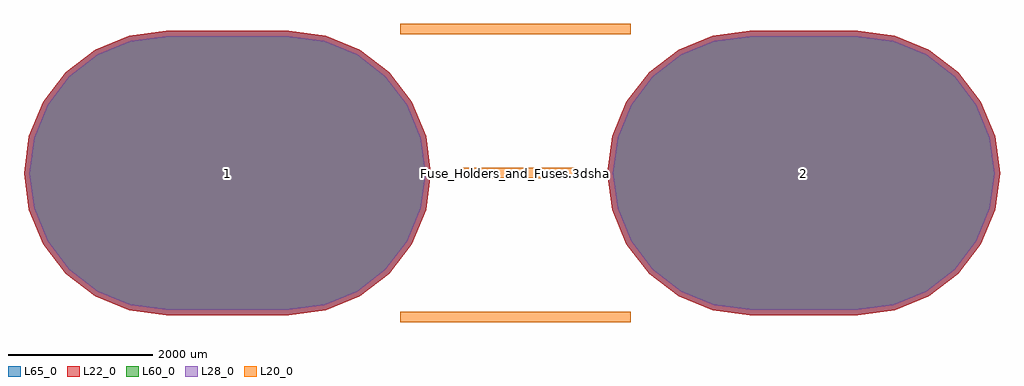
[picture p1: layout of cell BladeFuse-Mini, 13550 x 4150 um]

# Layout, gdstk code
import gdstk
lib = gdstk.Library(unit=1e-6, precision=1e-09)
def P(c, l, *ps):  # polygons
    for p in ps: c.add(gdstk.Polygon(p, *l))
L20_0 = (20, 0)
L22_0 = (22, 0)
L28_0 = (28, 0)
L60_0 = (60, 0)
L65_0 = (65, 0)

bladefuse_mini = lib.new_cell('BladeFuse-Mini')
P(bladefuse_mini, L22_0, [(3250,-1975),(4750,-1975),(5261.168,-1907.704),(5737.5,-1710.4),(6146.536,-1396.536),(6460.4,-987.5),(6657.704,-511.168),(6725,0),(6657.704,511.168),(6460.4,987.5),(6146.536,1396.536),(5737.5,1710.4),(5261.168,1907.704),(4750,1975),(3250,1975),(2738.832,1907.704),(2262.5,1710.4),(1853.464,1396.536),(1539.6,987.5),(1342.296,511.168),(1275,0),(1342.296,-511.168),(1539.6,-987.5),(1853.464,-1396.536),(2262.5,-1710.4),(2738.832,-1907.704)],
  [(-4850,-1975),(-3150,-1975),(-2638.832,-1907.704),(-2162.5,-1710.4),(-1753.464,-1396.536),(-1439.6,-987.5),(-1242.296,-511.168),(-1175,0),(-1242.296,511.168),(-1439.6,987.5),(-1753.464,1396.536),(-2162.5,1710.4),(-2638.832,1907.704),(-3150,1975),(-4850,1975),(-5361.168,1907.704),(-5837.5,1710.4),(-6246.536,1396.536),(-6560.4,987.5),(-6757.704,511.168),(-6825,0),(-6757.704,-511.168),(-6560.4,-987.5),(-6246.536,-1396.536),(-5837.5,-1710.4),(-5361.168,-1907.704)])
P(bladefuse_mini, L28_0, [(3250,-1900),(4750,-1900),(5241.756,-1835.259),(5700,-1645.448),(6093.503,-1343.503),(6395.448,-950),(6585.259,-491.756),(6650,0),(6585.259,491.756),(6395.448,950),(6093.503,1343.503),(5700,1645.448),(5241.756,1835.259),(4750,1900),(3250,1900),(2758.244,1835.259),(2300,1645.448),(1906.497,1343.503),(1604.552,950),(1414.741,491.756),(1350,0),(1414.741,-491.756),(1604.552,-950),(1906.497,-1343.503),(2300,-1645.448),(2758.244,-1835.259)],
  [(-4850,-1900),(-3150,-1900),(-2658.244,-1835.259),(-2200,-1645.448),(-1806.497,-1343.503),(-1504.552,-950),(-1314.741,-491.756),(-1250,0),(-1314.741,491.756),(-1504.552,950),(-1806.497,1343.503),(-2200,1645.448),(-2658.244,1835.259),(-3150,1900),(-4850,1900),(-5341.756,1835.259),(-5800,1645.448),(-6193.503,1343.503),(-6495.448,950),(-6685.259,491.756),(-6750,0),(-6685.259,-491.756),(-6495.448,-950),(-6193.503,-1343.503),(-5800,-1645.448),(-5341.756,-1835.259)])
P(bladefuse_mini, L60_0, [(3250,-1900),(4750,-1900),(5241.756,-1835.259),(5700,-1645.448),(6093.503,-1343.503),(6395.448,-950),(6585.259,-491.756),(6650,0),(6585.259,491.756),(6395.448,950),(6093.503,1343.503),(5700,1645.448),(5241.756,1835.259),(4750,1900),(3250,1900),(2758.244,1835.259),(2300,1645.448),(1906.497,1343.503),(1604.552,950),(1414.741,491.756),(1350,0),(1414.741,-491.756),(1604.552,-950),(1906.497,-1343.503),(2300,-1645.448),(2758.244,-1835.259)],
  [(-4850,-1900),(-3150,-1900),(-2658.244,-1835.259),(-2200,-1645.448),(-1806.497,-1343.503),(-1504.552,-950),(-1314.741,-491.756),(-1250,0),(-1314.741,491.756),(-1504.552,950),(-1806.497,1343.503),(-2200,1645.448),(-2658.244,1835.259),(-3150,1900),(-4850,1900),(-5341.756,1835.259),(-5800,1645.448),(-6193.503,1343.503),(-6495.448,950),(-6685.259,491.756),(-6750,0),(-6685.259,-491.756),(-6495.448,-950),(-6193.503,-1343.503),(-5800,-1645.448),(-5341.756,-1835.259)])
P(bladefuse_mini, L65_0, [(3250,-1975),(4750,-1975),(5261.168,-1907.704),(5737.5,-1710.4),(6146.536,-1396.536),(6460.4,-987.5),(6657.704,-511.168),(6725,0),(6657.704,511.168),(6460.4,987.5),(6146.536,1396.536),(5737.5,1710.4),(5261.168,1907.704),(4750,1975),(3250,1975),(2738.832,1907.704),(2262.5,1710.4),(1853.464,1396.536),(1539.6,987.5),(1342.296,511.168),(1275,0),(1342.296,-511.168),(1539.6,-987.5),(1853.464,-1396.536),(2262.5,-1710.4),(2738.832,-1907.704)],
  [(-4850,-1975),(-3150,-1975),(-2638.832,-1907.704),(-2162.5,-1710.4),(-1753.464,-1396.536),(-1439.6,-987.5),(-1242.296,-511.168),(-1175,0),(-1242.296,511.168),(-1439.6,987.5),(-1753.464,1396.536),(-2162.5,1710.4),(-2638.832,1907.704),(-3150,1975),(-4850,1975),(-5361.168,1907.704),(-5837.5,1710.4),(-6246.536,1396.536),(-6560.4,987.5),(-6757.704,511.168),(-6825,0),(-6757.704,-511.168),(-6560.4,-987.5),(-6246.536,-1396.536),(-5837.5,-1710.4),(-5361.168,-1907.704)])
bladefuse_mini.add(gdstk.FlexPath([(-1600,2000),(1600,2000)], 149.998, ends="flush", simple_path=True, layer=20, datatype=0))  # L20_0
bladefuse_mini.add(gdstk.FlexPath([(1600,-2000),(-1600,-2000)], 149.998, ends="flush", simple_path=True, layer=20, datatype=0))  # L20_0
bladefuse_mini.add(gdstk.FlexPath([(-750,0),(850,0)], 149.998, ends="flush", simple_path=True, layer=20, datatype=0))  # L20_0
bladefuse_mini.add(gdstk.Label('Fuse_Holders_and_Fuses.3dshapes/BladeFuse-Mini.wrl', (0,0), layer=12, texttype=0))
bladefuse_mini.add(gdstk.Label('2', (4000,0), layer=28, texttype=0))
bladefuse_mini.add(gdstk.Label('1', (-4000,0), layer=28, texttype=0))
bladefuse_mini.add(gdstk.Label('type', (200,-4700), layer=9, texttype=0))
bladefuse_mini.add(gdstk.Label('devicename', (200,4700), layer=9, texttype=0))

lib.write_gds('BladeFuse-Mini.gds')
